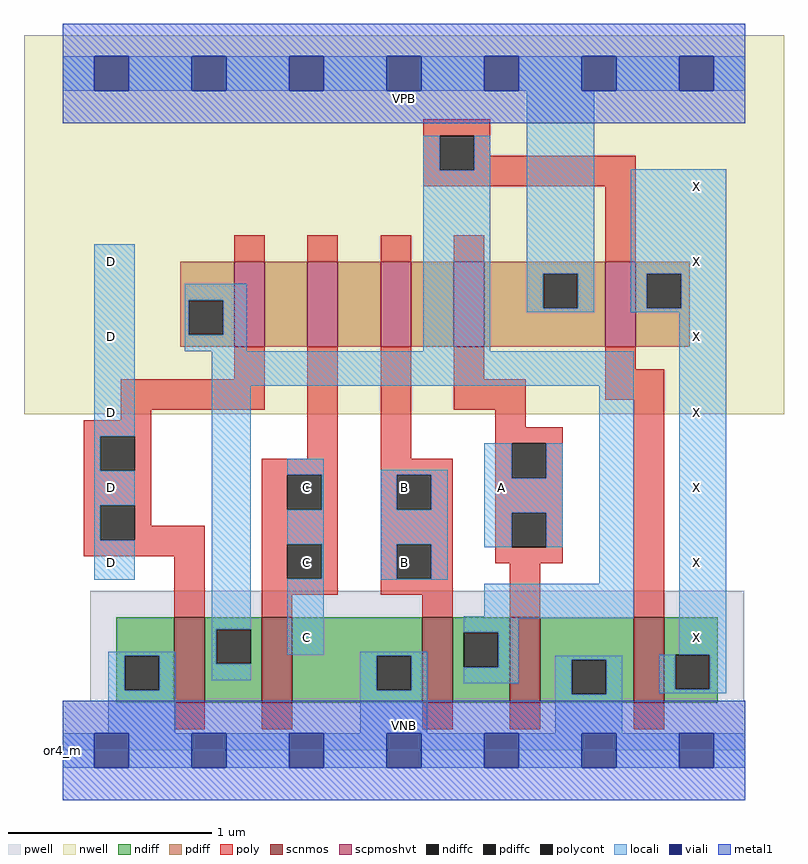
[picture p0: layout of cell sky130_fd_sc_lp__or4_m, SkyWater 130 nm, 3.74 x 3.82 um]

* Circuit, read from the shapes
.subckt sky130_fd_sc_lp__or4_m A B C D VGND VNB VPB VPWR X
XM1 n1 D VGND VNB sky130_fd_pr__nfet_01v8 w=0.42 l=0.15
XM2 VGND C n1 VNB sky130_fd_pr__nfet_01v8 w=0.42 l=0.15
XM3 n1 B VGND VNB sky130_fd_pr__nfet_01v8 w=0.42 l=0.15
XM4 VGND A n1 VNB sky130_fd_pr__nfet_01v8 w=0.42 l=0.15
XM5 X n1 VGND VNB sky130_fd_pr__nfet_01v8 w=0.42 l=0.15
XM6 n2 D n1 VPB sky130_fd_pr__pfet_01v8_hvt w=0.42 l=0.15
XM7 n3 C n2 VPB sky130_fd_pr__pfet_01v8_hvt w=0.42 l=0.15
XM8 n4 B n3 VPB sky130_fd_pr__pfet_01v8_hvt w=0.42 l=0.15
XM9 VPWR A n4 VPB sky130_fd_pr__pfet_01v8_hvt w=0.42 l=0.15
XM10 X n1 VPWR VPB sky130_fd_pr__pfet_01v8_hvt w=0.42 l=0.15
.ends

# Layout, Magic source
magic
tech sky130A
magscale 1 2
<< nwell >>
rect -38 331 710 704
<< pwell >>
rect 27 49 671 157
rect 0 0 672 49
<< scnmos >>
rect 110 47 140 131
rect 196 47 226 131
rect 354 47 384 131
rect 440 47 470 131
rect 562 47 592 131
<< scpmoshvt >>
rect 169 397 199 481
rect 241 397 271 481
rect 313 397 343 481
rect 385 397 415 481
rect 534 397 564 481
<< ndiff >>
rect 53 93 110 131
rect 53 59 61 93
rect 95 59 110 93
rect 53 47 110 59
rect 140 119 196 131
rect 140 85 151 119
rect 185 85 196 119
rect 140 47 196 85
rect 226 93 354 131
rect 226 59 309 93
rect 343 59 354 93
rect 226 47 354 59
rect 384 116 440 131
rect 384 82 395 116
rect 429 82 440 116
rect 384 47 440 82
rect 470 89 562 131
rect 470 55 501 89
rect 535 55 562 89
rect 470 47 562 55
rect 592 94 645 131
rect 592 60 603 94
rect 637 60 645 94
rect 592 47 645 60
<< pdiff >>
rect 116 443 169 481
rect 116 409 124 443
rect 158 409 169 443
rect 116 397 169 409
rect 199 397 241 481
rect 271 397 313 481
rect 343 397 385 481
rect 415 469 534 481
rect 415 435 473 469
rect 507 435 534 469
rect 415 397 534 435
rect 564 469 617 481
rect 564 435 575 469
rect 609 435 617 469
rect 564 397 617 435
<< ndiffc >>
rect 61 59 95 93
rect 151 85 185 119
rect 309 59 343 93
rect 395 82 429 116
rect 501 55 535 89
rect 603 60 637 94
<< pdiffc >>
rect 124 409 158 443
rect 473 435 507 469
rect 575 435 609 469
<< poly >>
rect 355 605 421 621
rect 355 571 371 605
rect 405 585 421 605
rect 405 571 564 585
rect 355 555 564 571
rect 169 481 199 507
rect 241 481 271 507
rect 313 481 343 507
rect 385 481 415 507
rect 534 481 564 555
rect 169 365 199 397
rect 57 335 199 365
rect 57 325 87 335
rect 21 309 87 325
rect 21 275 37 309
rect 71 275 87 309
rect 241 287 271 397
rect 21 241 87 275
rect 21 207 37 241
rect 71 221 87 241
rect 196 271 271 287
rect 196 237 221 271
rect 255 237 271 271
rect 71 207 140 221
rect 21 191 140 207
rect 110 131 140 191
rect 196 203 271 237
rect 196 169 221 203
rect 255 169 271 203
rect 196 153 271 169
rect 313 287 343 397
rect 385 365 415 397
rect 534 375 564 397
rect 385 335 456 365
rect 534 345 592 375
rect 426 318 456 335
rect 426 302 492 318
rect 313 271 384 287
rect 313 237 329 271
rect 363 237 384 271
rect 313 203 384 237
rect 313 169 329 203
rect 363 169 384 203
rect 426 268 442 302
rect 476 268 492 302
rect 426 234 492 268
rect 426 200 442 234
rect 476 200 492 234
rect 426 184 492 200
rect 313 153 384 169
rect 196 131 226 153
rect 354 131 384 153
rect 440 131 470 184
rect 562 131 592 345
rect 110 21 140 47
rect 196 21 226 47
rect 354 21 384 47
rect 440 21 470 47
rect 562 21 592 47
<< polycont >>
rect 371 571 405 605
rect 37 275 71 309
rect 37 207 71 241
rect 221 237 255 271
rect 221 169 255 203
rect 329 237 363 271
rect 329 169 363 203
rect 442 268 476 302
rect 442 200 476 234
<< locali >>
rect 0 649 31 683
rect 65 649 127 683
rect 161 649 223 683
rect 257 649 319 683
rect 353 649 415 683
rect 449 649 511 683
rect 545 649 607 683
rect 641 649 672 683
rect 355 571 371 605
rect 405 571 421 605
rect 31 309 71 498
rect 120 443 181 459
rect 120 409 124 443
rect 158 409 181 443
rect 120 393 181 409
rect 355 393 421 571
rect 457 469 523 649
rect 457 435 473 469
rect 507 435 523 469
rect 457 431 523 435
rect 559 469 653 572
rect 559 435 575 469
rect 609 435 653 469
rect 559 431 653 435
rect 31 275 37 309
rect 31 241 71 275
rect 31 207 37 241
rect 31 168 71 207
rect 147 359 562 393
rect 147 119 185 359
rect 45 93 111 97
rect 45 59 61 93
rect 95 59 111 93
rect 147 85 151 119
rect 221 271 257 287
rect 255 237 257 271
rect 221 203 257 237
rect 255 169 257 203
rect 221 94 257 169
rect 313 271 379 276
rect 313 237 329 271
rect 363 237 379 271
rect 313 203 379 237
rect 313 169 329 203
rect 363 169 379 203
rect 415 268 442 302
rect 476 268 492 302
rect 415 234 492 268
rect 415 200 442 234
rect 476 200 492 234
rect 313 168 379 169
rect 528 164 562 359
rect 415 132 562 164
rect 395 130 562 132
rect 395 116 449 130
rect 147 69 185 85
rect 293 93 359 97
rect 45 17 111 59
rect 293 59 309 93
rect 343 59 359 93
rect 429 82 449 116
rect 607 94 653 431
rect 395 66 449 82
rect 485 89 551 93
rect 293 17 359 59
rect 485 55 501 89
rect 535 55 551 89
rect 587 60 603 94
rect 637 60 653 94
rect 587 56 653 60
rect 485 17 551 55
rect 0 -17 31 17
rect 65 -17 127 17
rect 161 -17 223 17
rect 257 -17 319 17
rect 353 -17 415 17
rect 449 -17 511 17
rect 545 -17 607 17
rect 641 -17 672 17
<< viali >>
rect 31 649 65 683
rect 127 649 161 683
rect 223 649 257 683
rect 319 649 353 683
rect 415 649 449 683
rect 511 649 545 683
rect 607 649 641 683
rect 31 -17 65 17
rect 127 -17 161 17
rect 223 -17 257 17
rect 319 -17 353 17
rect 415 -17 449 17
rect 511 -17 545 17
rect 607 -17 641 17
<< metal1 >>
rect 0 683 672 715
rect 0 649 31 683
rect 65 649 127 683
rect 161 649 223 683
rect 257 649 319 683
rect 353 649 415 683
rect 449 649 511 683
rect 545 649 607 683
rect 641 649 672 683
rect 0 617 672 649
rect 0 17 672 49
rect 0 -17 31 17
rect 65 -17 127 17
rect 161 -17 223 17
rect 257 -17 319 17
rect 353 -17 415 17
rect 449 -17 511 17
rect 545 -17 607 17
rect 641 -17 672 17
rect 0 -49 672 -17
<< labels >>
flabel pwell s 0 0 672 49 0 FreeSans 200 0 0 0 VNB
port 6 nsew ground bidirectional
flabel nwell s 0 617 672 666 0 FreeSans 200 0 0 0 VPB
port 7 nsew power bidirectional
rlabel comment s 0 0 0 0 4 or4_m
flabel metal1 s 0 617 672 666 0 FreeSans 340 0 0 0 VPWR
port 8 nsew power bidirectional
flabel metal1 s 0 0 672 49 0 FreeSans 340 0 0 0 VGND
port 5 nsew ground bidirectional
flabel locali s 415 242 449 276 0 FreeSans 340 0 0 0 A
port 1 nsew signal input
flabel locali s 319 168 353 202 0 FreeSans 340 0 0 0 B
port 2 nsew signal input
flabel locali s 319 242 353 276 0 FreeSans 340 0 0 0 B
port 2 nsew signal input
flabel locali s 223 94 257 128 0 FreeSans 340 0 0 0 C
port 3 nsew signal input
flabel locali s 223 168 257 202 0 FreeSans 340 0 0 0 C
port 3 nsew signal input
flabel locali s 223 242 257 276 0 FreeSans 340 0 0 0 C
port 3 nsew signal input
flabel locali s 31 168 65 202 0 FreeSans 340 0 0 0 D
port 4 nsew signal input
flabel locali s 31 242 65 276 0 FreeSans 340 0 0 0 D
port 4 nsew signal input
flabel locali s 31 316 65 350 0 FreeSans 340 0 0 0 D
port 4 nsew signal input
flabel locali s 31 390 65 424 0 FreeSans 340 0 0 0 D
port 4 nsew signal input
flabel locali s 31 464 65 498 0 FreeSans 340 0 0 0 D
port 4 nsew signal input
flabel locali s 607 94 641 128 0 FreeSans 340 0 0 0 X
port 9 nsew signal output
flabel locali s 607 168 641 202 0 FreeSans 340 0 0 0 X
port 9 nsew signal output
flabel locali s 607 242 641 276 0 FreeSans 340 0 0 0 X
port 9 nsew signal output
flabel locali s 607 316 641 350 0 FreeSans 340 0 0 0 X
port 9 nsew signal output
flabel locali s 607 390 641 424 0 FreeSans 340 0 0 0 X
port 9 nsew signal output
flabel locali s 607 464 641 498 0 FreeSans 340 0 0 0 X
port 9 nsew signal output
flabel locali s 607 538 641 572 0 FreeSans 340 0 0 0 X
port 9 nsew signal output
<< properties >>
string LEFsite unit
string LEFclass CORE
string FIXED_BBOX 0 0 672 666
string GDS_FILE $PDKPATH/libs.ref/sky130_fd_sc_lp/gds/sky130_fd_sc_lp.gds
string LEFsymmetry X Y R90
string GDS_END 319812
string GDS_START 312572
<< end >>
